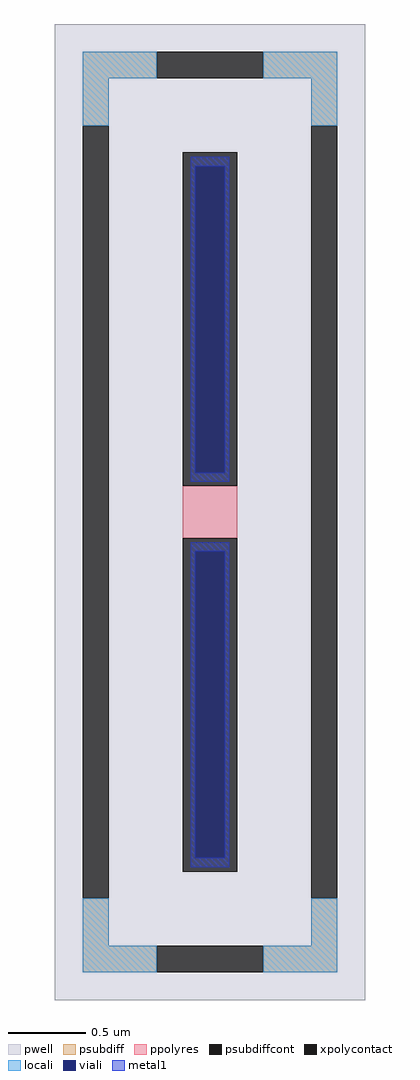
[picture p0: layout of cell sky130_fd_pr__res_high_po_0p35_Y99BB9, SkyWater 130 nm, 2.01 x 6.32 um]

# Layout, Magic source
magic
tech sky130A
magscale 1 2
<< pwell >>
rect -201 -632 201 632
<< psubdiff >>
rect -165 562 -69 596
rect 69 562 165 596
rect -165 500 -131 562
rect 131 500 165 562
rect -165 -562 -131 -500
rect 131 -562 165 -500
rect -165 -596 -69 -562
rect 69 -596 165 -562
<< psubdiffcont >>
rect -69 562 69 596
rect -165 -500 -131 500
rect 131 -500 165 500
rect -69 -596 69 -562
<< xpolycontact >>
rect -35 34 35 466
rect -35 -466 35 -34
<< ppolyres >>
rect -35 -34 35 34
<< locali >>
rect -165 562 -69 596
rect 69 562 165 596
rect -165 500 -131 562
rect 131 500 165 562
rect -165 -562 -131 -500
rect 131 -562 165 -500
rect -165 -596 -69 -562
rect 69 -596 165 -562
<< viali >>
rect -19 51 19 448
rect -19 -448 19 -51
<< metal1 >>
rect -25 448 25 460
rect -25 51 -19 448
rect 19 51 25 448
rect -25 39 25 51
rect -25 -51 25 -39
rect -25 -448 -19 -51
rect 19 -448 25 -51
rect -25 -460 25 -448
<< properties >>
string FIXED_BBOX -148 -579 148 579
string gencell sky130_fd_pr__res_high_po_0p35
string library sky130
string parameters w 0.350 l 0.5 m 1 nx 1 wmin 0.350 lmin 0.50 rho 319.8 val 1.57k dummy 0 dw 0.0 term 194.82 sterm 0.0 caplen 0 guard 1 glc 1 grc 1 gtc 1 gbc 1 compatible {sky130_fd_pr__res_high_po_0p35  sky130_fd_pr__res_high_po_0p69 sky130_fd_pr__res_high_po_1p41  sky130_fd_pr__res_high_po_2p85 sky130_fd_pr__res_high_po_5p73} snake 0 full_metal 1 wmax 0.350 vias 1 n_guard 0 hv_guard 0 viagb 0 viagt 0 viagl 0 viagr 0
<< end >>
